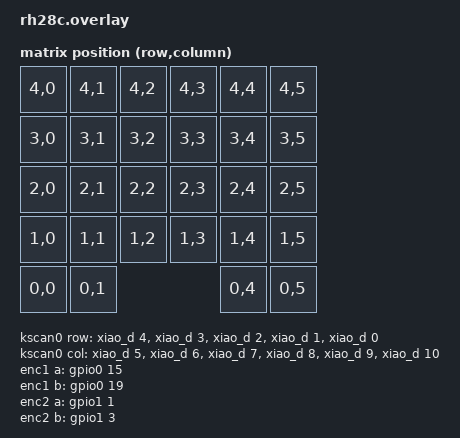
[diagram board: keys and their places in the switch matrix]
#include <dt-bindings/zmk/matrix_transform.h>
#include <dt-bindings/led/led.h>

/ {

    chosen {
        zmk,kscan = &kscan0;
        zmk,matrix_transform = &default_transform;
    };

    default_transform: keymap_transform_0 {
        compatible = "zmk,matrix-transform";
        columns = <6>;
        rows = <5>;
        map = <
            RC(4,0) RC(4,1) RC(4,2) RC(4,3) RC(4,4) RC(4,5)
            RC(3,0) RC(3,1) RC(3,2) RC(3,3) RC(3,4) RC(3,5)
            RC(2,0) RC(2,1) RC(2,2) RC(2,3) RC(2,4) RC(2,5)
            RC(1,0) RC(1,1) RC(1,2) RC(1,3) RC(1,4) RC(1,5)
            RC(0,0) RC(0,1)                 RC(0,4) RC(0,5)
        >;
    };

    kscan0: kscan {
        compatible = "zmk,kscan-gpio-matrix";
        wakeup-source;
        diode-direction = "col2row";

        row-gpios
            = <&xiao_d 4 (GPIO_ACTIVE_HIGH | GPIO_PULL_DOWN)>
            , <&xiao_d 3 (GPIO_ACTIVE_HIGH | GPIO_PULL_DOWN)>
            , <&xiao_d 2 (GPIO_ACTIVE_HIGH | GPIO_PULL_DOWN)>
            , <&xiao_d 1 (GPIO_ACTIVE_HIGH | GPIO_PULL_DOWN)>
            , <&xiao_d 0 (GPIO_ACTIVE_HIGH | GPIO_PULL_DOWN)>
            ;

        col-gpios
            = <&xiao_d 5  GPIO_ACTIVE_HIGH>
            , <&xiao_d 6  GPIO_ACTIVE_HIGH>
            , <&xiao_d 7  GPIO_ACTIVE_HIGH>
            , <&xiao_d 8  GPIO_ACTIVE_HIGH>
            , <&xiao_d 9  GPIO_ACTIVE_HIGH>
            , <&xiao_d 10 GPIO_ACTIVE_HIGH>
            ;

    };
    enc1: encoder_1 {
        compatible = "alps,ec11";
        a-gpios = <&gpio0 15 (GPIO_ACTIVE_HIGH | GPIO_PULL_UP)>;
        b-gpios = <&gpio0 19 (GPIO_ACTIVE_HIGH | GPIO_PULL_UP)>;
        steps = <12>;
        status = "okay";
    };

    enc2: encoder_2 {
        compatible = "alps,ec11";
        a-gpios = <&gpio1 1 (GPIO_ACTIVE_HIGH | GPIO_PULL_UP)>;
        b-gpios = <&gpio1 3 (GPIO_ACTIVE_HIGH | GPIO_PULL_UP)>;
        steps = <24>;
        status = "okay";
    };

    sensors: sensors {
        compatible = "zmk,keymap-sensors";
        sensors = <&enc1 &enc2>;
        triggers-per-rotation = <12>;
    };
};
&pinctrl {
    spi3_default: spi3_default {
        group1 {
            psels = <NRF_PSEL(SPIM_MOSI, 1, 5)>;
        };
    };

    spi3_sleep: spi3_sleep {
        group1 {
            psels = <NRF_PSEL(SPIM_MOSI, 1, 5)>;
            low-power-enable;
        };
    };
};

&spi3 {
    compatible = "nordic,nrf-spim";
    status = "okay";

    pinctrl-0 = <&spi3_default>;
    pinctrl-1 = <&spi3_sleep>;
    pinctrl-names = "default", "sleep";

    led_strip: ws2812@0 {
        compatible = "worldsemi,ws2812-spi";
        reg = <0>;
        spi-max-frequency = <4000000>;
        chain-length = <1>;
        spi-one-frame = <0x70>;
        spi-zero-frame = <0x40>;
        color-mapping = <LED_COLOR_ID_GREEN
                         LED_COLOR_ID_RED
                         LED_COLOR_ID_BLUE>;
    };
};

/ {
    chosen {
        zmk,underglow = &led_strip;
    };
};
